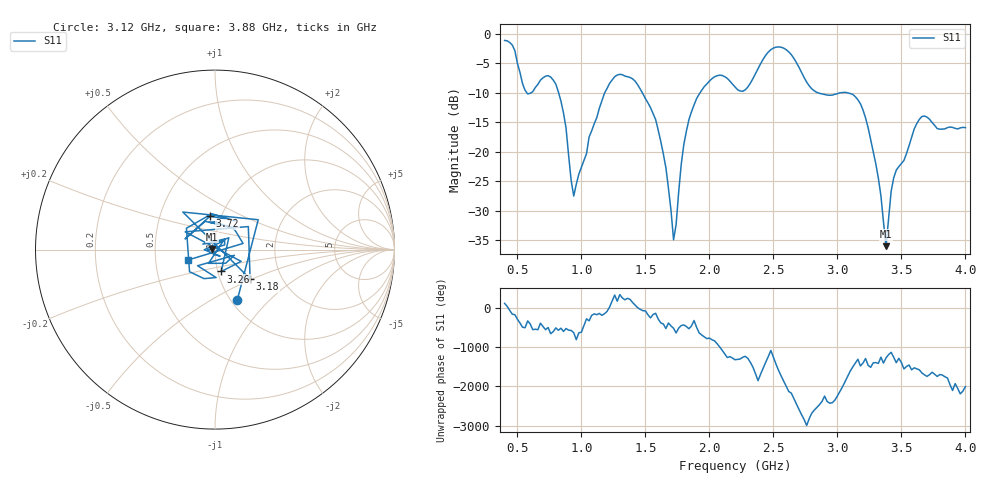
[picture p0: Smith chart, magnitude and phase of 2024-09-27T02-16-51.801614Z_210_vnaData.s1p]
!Created with skrf (http://scikit-rf.org).
# Hz S RI R 50.0
!freq ReS11 ImS11
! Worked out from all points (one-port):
!   181 points, 400 MHz to 4 GHz, reference 50 ohm
!   lowest |S11| = -36.0 dB at 3.38 GHz (marker M1), VSWR 1.03, Z = 48.5 + j0.347 ohm
!   |S11| at or under -10 dB: 821.8 MHz to 1.182 GHz (360.6 MHz wide, 36 % of centre); 1.476 GHz to 1.927 GHz (451.8 MHz wide, 26.6 % of centre); 3.076 GHz to end of sweep (the widest 3 of 5)
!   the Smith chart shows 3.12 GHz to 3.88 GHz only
!   S11 on the Smith chart (normalised r, x): 3.12 GHz: 1.07, -0.66; 3.18 GHz: 1.39, -0.48; 3.26 GHz: 1.04, -0.26; 3.72 GHz: 0.88, +0.34; 3.88 GHz: 0.73, -0.09
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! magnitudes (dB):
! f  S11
! 400 MHz  -1.1
! 580 MHz  -10.2
! 740 MHz  -7.1
! 860 MHz  -13.4
! 940 MHz  -27.5
! 1.18 GHz  -10.1
! 1.3 GHz  -6.9
! 1.58 GHz  -14.6
! 1.66 GHz  -22.7
! 1.72 GHz  -34.9
! 1.76 GHz  -26.8
! 1.82 GHz  -16.5
! 1.9 GHz  -11.0
! 2.06 GHz  -7.1
! 2.2 GHz  -9.0
! 2.5 GHz  -2.4
! 2.66 GHz  -4.2
! 2.82 GHz  -9.7
! 3.1 GHz  -10.1
! 3.12 GHz  -10.3
! 3.18 GHz  -11.9
! 3.26 GHz  -17.9
! 3.38 GHz  -36.0
! 3.44 GHz  -24.4
! 3.56 GHz  -19.0
! 3.72 GHz  -14.5
! 3.88 GHz  -15.8
! 4 GHz  -15.9
